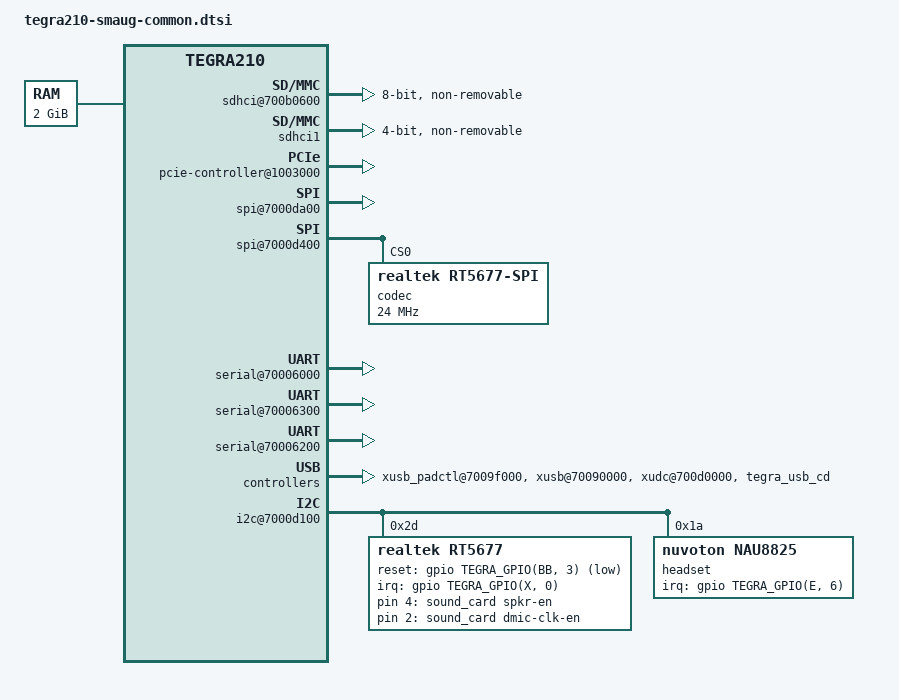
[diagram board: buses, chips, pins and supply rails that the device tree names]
/*
 * arch/arm64/boot/dts/tegra210-smaug-common.dtsi
 *
 * Copyright (c) 2014-2017, NVIDIA CORPORATION.  All rights reserved.
 *
 * This program is free software; you can redistribute it and/or modify
 * it under the terms of the GNU General Public License as published by
 * the Free Software Foundation; version 2 of the License.
 *
 * This program is distributed in the hope that it will be useful, but WITHOUT
 * ANY WARRANTY; without even the implied warranty of MERCHANTABILITY or
 * FITNESS FOR A PARTICULAR PURPOSE.  See the GNU General Public License for
 * more details.
 *
 */

/dts-v1/;

/memreserve/ 0x80000000 0x00020000;

#include <t210-common-platforms/tegra210-common.dtsi>
#include "smaug-platforms/tegra210-cpufreq.dtsi"
#include <t210-common-platforms/tegra210-e2141-max8973-dfll.dtsi>
#include <tegra210-soc/tegra210-sdhci.dtsi>
#include <tegra210-soc/tegra210-audio.dtsi>
#include "smaug-platforms/tegra210-abca-prods.dtsi"
#include "smaug-platforms/tegra210-thermal-Tboard-Tdiode.dtsi"
#include <dt-bindings/clock/tegra210-car.h>
#include <dt-bindings/reset/tegra210-car.h>
#include <dt-bindings/soc/tegra-pmc.h>
#include <dt-bindings/thermal/tegra124-soctherm.h>
#include <dt-bindings/thermal/tegra210-trips.h>
#include "smaug-platforms/tegra210-smaug-comms.dtsi"

/ {

	nvidia,dtsfilename = __FILE__;

	dvfs {
		compatible = "nvidia,tegra210-dvfs";
	};

	rtc {
		nvidia,pmc-wakeup = <&tegra_pmc PMC_WAKE_TYPE_EVENT 16
			PMC_TRIGGER_TYPE_HIGH>;
	};

	tegra_fiq_debugger {
		status = "disabled";
	};

	pmc@7000e400 {
		status = "okay";
		/delete-property/ nvidia,secure-pmc;
		nvidia,invert-interrupt;
		nvidia,suspend-mode = <0>;
		nvidia,cpu-pwr-good-time = <0>;
		nvidia,cpu-pwr-off-time = <0>;
		nvidia,core-pwr-good-time = <12000 6000>;
		nvidia,core-pwr-off-time = <39053>;
		nvidia,core-pwr-req-active-high;
		nvidia,sys-clock-req-active-high;
		#nvidia,wake-cells = <3>;

/*		bootrom-commands {
			command-block-0 {
				nvidia,i2c-controller-id = <4>;
				nvidia,pinmux-id = <0>;
				nvidia,bus-addr = <0x3c>;
				* Set PPVAR_SOC to 1.0V *
				nvidia,reg-addr = <0x16>, <0x1b>;
				nvidia,reg-data = <0x20>, <0x20>;
			};
			command-block-1 {
				nvidia,i2c-controller-id = <4>;
				nvidia,pinmux-id = <0>;
				nvidia,bus-addr = <0x68>;
				* Set RTCSECA2 to 0x1 to indicate a warm boot *
				nvidia,reg-addr = <0x15>, <0x04>;
				nvidia,reg-data = <0x01>, <0x0b>;
			};
		};*/

		iopad-defaults {
			audio-hv-pads {
				pins = "audio-hv";
				nvidia,power-source-voltage = <TEGRA_IO_PAD_VOLTAGE_1800000UV>;
			};

			spi-hv-pads {
				pins = "spi-hv";
				nvidia,power-source-voltage = <TEGRA_IO_PAD_VOLTAGE_1800000UV>;
			};

			gpio-pads {
				pins = "gpio";
				nvidia,power-source-voltage = <TEGRA_IO_PAD_VOLTAGE_1800000UV>;
			};

			sdmmc1-pads {
				pins = "sdmmc1";
				nvidia,enable-voltage-switching;
			};

			sdmmc3-pads {
				pins = "sdmmc3";
			//	nvidia,power-source-voltage = <TEGRA_IO_PAD_VOLTAGE_1800000UV>;
				nvidia,enable-voltage-switching;
			//	low-power-enable;
			};
		};
	};

	memory@80000000 {
		device_type = "memory";
		reg = < 0x0 0x80000000 0x0 0x80000000 >;
	};

	sdhci@700b0600 { /* SDMMC4 for EMMC */
		uhs-mask = <0x0>;
	//	max-clk-limit = <200000000>;
		/delete-property/ mmc-hs400-enhanced-strobe;
		/delete-property/ mmc-hs400-1_8v;
		built-in;
		only-1-8-v;
		status = "okay";
		bus-width = <8>;
		non-removable;
		no-sdio;
		no-sd;
		status = "okay";
	};

	sdhci@700b0400 { /* SDMMC3 Not Used */
		status = "disabled";
	};

	sdhci1: sdhci@700b0200 { /* SDMMC2 for WiFi */
	//	no-1-8-v;
		non-removable;
		keep-power-in-suspend;
		bus-width = <4>;
		only-1-8-v;
		force-non-removable-rescan;
		uhs-mask = <0x8>;
		/delete-property/ mmc-hs400-enhanced-strobe;
		/delete-property/ mmc-hs400-1_8v;
		status = "okay";
	};

	sdhci@700b0000 { /* SDMMC1 Not Used */
		status = "disabled";
		/delete-property/ cd-gpios;
	};

	aconnect@702c0000 {
		status = "okay";

		adma@702e2000  {
			dma-channels = <10>;
			status = "okay";
		};

		ahub {
			i2s@702d1000 {
				pinctrl-names = "dap_active", "dap_inactive";
				pinctrl-0 = <>;
				pinctrl-1 = <>;
				regulator-supplies = "vdd-1v8-audio-hv", "vdd-1v8-audio-hv-bias";
				vdd-1v8-audio-hv-supply = <&max77620_sd3>;
				vdd-1v8-audio-hv-bias-supply = <&max77620_sd3>;
				fsync-width = <0>;
			};
	
			i2s@702d1100 {
				pinctrl-names = "dap_active", "dap_inactive";
				pinctrl-0 = <>;
				pinctrl-1 = <>;
				regulator-supplies = "vdd-1v8-spi-hv", "vdd-1v8-spi-hv-bias";
				vdd-1v8-spi-hv-supply = <&max77620_sd3>;
				vdd-1v8-spi-hv-bias-supply = <&max77620_sd3>;
				fsync-width = <0>;
			};

			i2s@702d1200 {
				pinctrl-names = "dap_active", "dap_inactive";
				pinctrl-0 = <>;
				pinctrl-1 = <>;
				regulator-supplies = "vdd-1v8-spi-hv", "vdd-1v8-spi-hv-bias";
				vdd-1v8-spi-hv-supply = <&max77620_sd3>;
				vdd-1v8-spi-hv-bias-supply = <&max77620_sd3>;
				fsync-width = <0>;
			};

			i2s@702d1300 {
				fsync-width = <0>;
			};
			i2s@702d1400 {
				fsync-width = <0>;
			};
		};

		adsp_audio {
			status = "okay";
			compr-ops = <1>;
			num-plugin = <5>;
			plugin-info-1 {
				plugin-name = "mp3-dec1";
				firmware-name = "nvmp3dec.elf";
				widget-name = "MP3-DEC1";
			};
			plugin-info-2 {
				plugin-name = "spkprot";
				firmware-name = "nvspkprot.elf";
				widget-name = "SPKPROT-SW";
			};
			plugin-info-3 {
				plugin-name = "src";
				firmware-name = "nvsrc.elf";
				widget-name = "SRC";
			};
			plugin-info-4 {
				plugin-name = "aac-dec1";
				firmware-name = "nvaacdec.elf";
				widget-name = "AAC-DEC1";
			};
			plugin-info-5 {
				plugin-name = "aec";
				firmware-name = "libnvaecfx.elf";
				widget-name = "AEC";
				param-type = <2>; /* SNDRV_CTL_ELEM_TYPE_INTEGER */
			};
		};

	};

	pcie-controller@1003000 {
		nvidia,wake-gpio = <&gpio TEGRA_GPIO(A, 2) 0>;
		status = "okay";

		pci@1,0 {
			phys =  <&{/xusb_padctl@7009f000/pads/pcie/lanes/pcie-1}>,
					<&{/xusb_padctl@7009f000/pads/pcie/lanes/pcie-2}>,
					<&{/xusb_padctl@7009f000/pads/pcie/lanes/pcie-3}>,
					<&{/xusb_padctl@7009f000/pads/pcie/lanes/pcie-4}>;
			phy-names = "pcie-0", "pcie-1", "pcie-2", "pcie-3";
			status = "okay";
		};

		pci@2,0 {
			phys = <&{/xusb_padctl@7009f000/pads/pcie/lanes/pcie-0}>;
			phy-names = "pcie-0";
			status = "okay";
		};
	};

	spi@7000da00 {
		status = "okay";
	/*	spi@0 {
			compatible = "spidev";
			status = "okay";
			reg = <0>;
			spi-cpol;
			spi-cpha;
			spi-max-frequency = <10000000>;
		};*/
	};

	spi@7000d400 {
		status = "okay";
		codec@0 {
			status = "okay";
			compatible = "realtek,rt5677-spi";
			reg = <0>;
			spi-max-frequency = <24000000>;
		};
	};

	serial@70006040 {
		compatible = "nvidia,tegra20-uart";
		status = "disabled";
	};

	serial@70006000 {
		compatible = "nvidia,tegra210-uart", "nvidia,tegra114-hsuart", "nvidia,tegra20-uart";
	//	/delete-property/ console-port;
		status = "okay";
	};

	serial@70006300 {
		compatible = "nvidia,tegra210-uart", "nvidia,tegra114-hsuart", "nvidia,tegra20-uart";
	//	dma-names = "tx";
		status = "okay";
	/*	bluetooth {
			compatible = "brcm,bcm43438-bt";
			shutdown-gpios = <&gpio TEGRA_GPIO(H, 4) GPIO_ACTIVE_HIGH>;
			// level correct?
			device-wakeup-gpios = <&gpio TEGRA_GPIO(H, 3) GPIO_ACTIVE_LOW>;
			max-speed = <3000000>;
		};*/
	};

	serial@70006200 {
		status = "okay";
	};

	mailbox@70098000 {
		status = "okay";
	};

	extcon {
		extcon@0 {
			status = "disabled";
		};
	};

	xusb_padctl@7009f000 {
		status = "okay";

		pads {
			usb2 {
				status = "okay";

				lanes {
					usb2-0 {
						status = "okay";
						nvidia,function = "xusb";
						nvidia,hs_curr_level_offset = <(-4)>;
					};
				};
			};

			pcie {
				status = "okay";

				lanes {
					pcie-0 {
						status = "okay";
						nvidia,function = "pcie-x1";
					};
					pcie-1 {
						status = "okay";
						nvidia,function = "pcie-x4";
					};
					pcie-2 {
						status = "okay";
						nvidia,function = "pcie-x4";
					};
					pcie-3 {
						status = "okay";
						nvidia,function = "pcie-x4";
					};
					pcie-4 {
						status = "okay";
						nvidia,function = "pcie-x4";
					};
					pcie-5 {
						status = "okay";
						nvidia,function = "xusb";
					};
					pcie-6 {
						status = "okay";
						nvidia,function = "xusb";
					};
				};
			};
		};

		ports {
			usb2-0 {
				status = "okay";
				mode = "otg";
				nvidia,usb3-port-fake = <3>;
			};
			usb3-0 {
				status = "okay";
				nvidia,usb2-companion = <0>;
			};
		};
	};

	xusb@70090000 {
		phys = <&{/xusb_padctl@7009f000/pads/usb2/lanes/usb2-0}>,
				<&{/xusb_padctl@7009f000/pads/pcie/lanes/pcie-6}>;
		phy-names = "usb2-0", "usb3-0";
		#extcon-cells = <0>;
		extcon-cables = <&usbc_extcon>;
		extcon-cable-names = "id";
		nvidia,pmc-wakeup =
			<&tegra_pmc
				PMC_WAKE_TYPE_EVENT 39 PMC_TRIGGER_TYPE_HIGH>,
			<&tegra_pmc
				PMC_WAKE_TYPE_EVENT 44 PMC_TRIGGER_TYPE_HIGH>;
		status = "okay";
	};

	xudc@700d0000 {
		phys =  <&{/xusb_padctl@7009f000/pads/usb2/lanes/usb2-0}>,
				<&{/xusb_padctl@7009f000/pads/pcie/lanes/pcie-6}>;
		phy-names = "usb2", "usb3";
		charger-detector = <&tegra_usb_cd>;
		extcon-cables = <&usbc_extcon>;
		extcon-cable-names = "vbus";
		#extcon-cells = <0>;
		status = "okay";
	};

	tegra_usb_cd: usb_cd {
		reg = <0x0 0x7009f000 0x0 0x1000>;
		phys = <&{/xusb_padctl@7009f000/pads/usb2/lanes/usb2-0}>;
		phy-names = "otg-phy";
		status = "okay";
	};

	psy_extcon_xudc {
		status = "disabled";
		/delete-property/ dt-override-status-odm-data;
	};

	xotg {
		#extcon-cells = <0>;
		status = "disabled";
	};

	gpu-dvfs-rework {
		status = "okay";
	};

	ptm {
	//	status = "disabled";
	};

	i2c@7000d100 {
		rt5677: rt5677.5-002d@2d {
			compatible = "realtek,rt5677";
			reg = <0x2d>;

			interrupts-extended = <&gpio TEGRA_GPIO(X, 0) IRQ_TYPE_LEVEL_HIGH>;
			realtek,reset-gpio = <&gpio TEGRA_GPIO(BB, 3) GPIO_ACTIVE_LOW>;
			nvidia,pmc-wakeup = <&tegra_pmc PMC_WAKE_TYPE_EVENT 61
					     PMC_TRIGGER_TYPE_HIGH>;

			// Workaround for hissing problem b/24679173
			realtek,i2s1-pulldown;

			gpio-controller;
			#gpio-cells = <2>;
			status = "okay";
		};

		headset: nau8825.5-001a@1a {
			status = "okay";
			compatible = "nuvoton,nau8825";
			reg = <0x1a>;
			interrupt-parent = <&gpio>;
			interrupts = <TEGRA_GPIO(E, 6) IRQ_TYPE_LEVEL_LOW>;
	
			nuvoton,jkdet-enable;
			nuvoton,jkdet-polarity = <GPIO_ACTIVE_LOW>;
	
			nuvoton,vref-impedance = <2>;
			nuvoton,micbias-voltage = <6>;
			// Setup 4 buttons impedane according to Android specification
			nuvoton,sar-threshold-num = <4>;
			nuvoton,sar-threshold = <0xc 0x1e 0x38 0x60>;
			nuvoton,sar-hysteresis = <1>;
			nuvoton,sar-voltage = <0>;
			nuvoton,sar-compare-time = <0>;
			nuvoton,sar-sampling-time = <0>;
			nuvoton,short-key-debounce = <2>;
			nuvoton,jack-insert-debounce = <7>;
			nuvoton,jack-eject-debounce = <7>;

			clock-names = "mclk";
			clocks = <&tegra_car TEGRA210_CLK_CLK_OUT_2>;
		};

	};

	speaker: max98357a {
		compatible = "maxim,max98357a";
		status = "okay";
	};

	sound_card: sound {
		status = "okay";
		compatible = "nvidia,tegra-audio-t210ref-mobile-rt5677";
		nvidia,model = "tegra-snd-t210ref-mobile-rt5677";

		nvidia,spkr-en-gpios = <&rt5677 4 GPIO_ACTIVE_HIGH>;
		nvidia,dmic-clk-en-gpios = <&rt5677 2 GPIO_ACTIVE_HIGH>;

		clocks = <&tegra_car TEGRA210_CLK_PLL_P_OUT1>,
			<&tegra_car TEGRA210_CLK_PLL_A>,
			<&tegra_car TEGRA210_CLK_PLL_A_OUT0>,
			<&tegra_car TEGRA210_CLK_D_AUDIO>,
			<&tegra_car TEGRA210_CLK_CLK_M>,
			<&tegra_car TEGRA210_CLK_EXTERN1>;
		clock-names = "pll_p_out1", "pll_a", "pll_a_out0", "ahub",
			"clk_m", "extern1";


		assigned-clocks = <&tegra_car TEGRA210_CLK_PLL_A>,
			<&tegra_car TEGRA210_CLK_PLL_A_OUT0>,
			<&tegra_car TEGRA210_CLK_D_AUDIO>,
			<&tegra_car TEGRA210_CLK_EXTERN1>;
		assigned-clock-rates = <368640000>, <36864000>,
			<36864000>, <12288000>;

		nvidia,num-codec-link = <3>;

		nvidia,audio-routing =
			"x Headphone Jack", "y HPOL",
			"x Headphone Jack", "y HPOR",
			"x Mic Jack", "y MICBIAS",
			"x Mic Jack", "y MIC",
			"x DMIC L1", "x Int Mic",
			"x DMIC R1", "x Int Mic",
			"x DMIC L2", "x Int Mic",
			"x DMIC R2", "x Int Mic",
			"x Int Spk", "z Speaker";

		nvidia,xbar = <&tegra_axbar>;

		nvidia,dai-link-1 {
			link-name = "rt5677-playback";
			cpu-dai = <&tegra_i2s1>;
			codec-dai = <&rt5677>;
			cpu-dai-name = "I2S1";
			codec-dai-name = "rt5677-aif1";
			tx-mask = <0xFF>;
			rx-mask = <0xFF>;
			format = "dsp_a";
		//	bitclock-slave;
		//	frame-slave;
		//	bitclock-noninversion;
		//	frame-inversion;
			bit-format = "s16_le";
			bclk_ratio = <0>;
			srate = <48000>;
			num-channel = <4>;
			name-prefix = "x";
		};


		nvidia,dai-link-2 {
			link-name = "nau8825";
			cpu-dai = <&tegra_i2s2>;
			codec-dai = <&headset>;
			cpu-dai-name = "I2S2";
			codec-dai-name = "nau8825-hifi";
			format = "i2s";
			bit-format = "s16_le";
			srate = <48000>;
			num-channel = <2>;
			ignore_suspend;
			name-prefix = "y";
		};

		nvidia,dai-link-3 {
			link-name = "max98357a";
			cpu-dai = <&tegra_i2s3>;
			codec-dai = <&speaker>;
			cpu-dai-name = "I2S3";
			codec-dai-name = "HiFi";
			format = "i2s";
			bit-format = "s16_le";
			srate = <48000>;
			num-channel = <2>;
			name-prefix = "z";
		};
	};

	bcmdhd_wlan {
		edp-consumer-name = "primary-wifi";
	};

	modem {
		status = "disabled";
		/* using XHCI UTMI */
		nvidia,phy-type = <2>;
	};

	wifi-antenna-tuning {
		status = "disabled";
	};

	soctherm@0x700E2000 {
		throttle@oc1 {
			device_type = "throttlectl";
			oc-alarm-id = <1>;
			priority = <50>;
			mode = "brief";
			intr;
			active_low;
			count_threshold = <100>;
			filter = <5100000>;
			throttle_dev = <&{/soctherm@0x700E2000/throttle_dev@cpu_medium}
					&{/soctherm@0x700E2000/throttle_dev@gpu_medium}>;
		};
		throttle@oc3 {
			device_type = "throttlectl";
			oc-alarm-id = <3>;
			priority = <50>;
			mode = "brief";
			intr;
			active_low;
			count_threshold = <15>;
			filter = <5100000>;
			throttle_dev = <&{/soctherm@0x700E2000/throttle_dev@cpu_medium}
					&{/soctherm@0x700E2000/throttle_dev@gpu_medium}>;
		};
		throttle_dev@cpu_medium {
			dividend = <63>;
			divisor = <255>;
			duration = <0>;
			step = <0>;
		};
		throttle_dev@gpu_medium {
			level = "medium_throttling";
		};
	};

	thermal-zones {
		CPU-therm {
			status = "okay";
			thermal-zone-params {
				governor-name = "pid_thermal_gov";
				max_err_temp = <9000>;
				max_err_gain = <1000>;
				gain_p = <1000>;
				gain_d = <0>;
				up_compensation = <20>;
				down_compensation = <20>;
			};
			trips {
				cpu_critical {
					temperature = <102500>;
					hysteresis = <0>;
					type = "critical";
					writable;
				};
				cpu_heavy {
					temperature = <98500>;
					hysteresis = <0>;
					type = "hot";
					writable;
				};
				cpu_throttle {
					temperature = <89000>;
					hysteresis = <0>;
					type = "passive";
					writable;
				};
				core_dvfs_floor_trip0: core_dvfs_floor_trip0 {
					temperature = <15000>;
					hysteresis = <1000>;
					type = "active";
				};

				core_dvfs_cap_trip0: core_dvfs_cap_trip0 {
					temperature = <86000>;
					hysteresis = <1000>;
					type = "active";
				};

			};
			cooling-maps {
				map0 {
					trip = <&{/thermal-zones/CPU-therm/trips/cpu_critical}>;
					cdev-type = "tegra-shutdown";
					cooling-device = <&{/soctherm@0x700E2000/throttle@critical}
						THERMAL_NO_LIMIT THERMAL_NO_LIMIT>;
				};
				map1 {
					trip = <&{/thermal-zones/CPU-therm/trips/cpu_heavy}>;
					cdev-type = "tegra-heavy";
					cooling-device = <&throttle_heavy 1 1>;
				};
				map2 {
					trip = <&{/thermal-zones/CPU-therm/trips/cpu_throttle}>;
					cdev-type = "cpu-balanced";
					cooling-device = <&{/bthrot_cdev/cpu_balanced}
						THERMAL_NO_LIMIT THERMAL_NO_LIMIT>;
				};
				core_dvfs_floor_map0 {
					trip = <&core_dvfs_floor_trip0>;
					cooling-device = <&core_dvfs_floor 1 1>;
				};
				core_dvfs_cap_map0 {
					trip = <&core_dvfs_cap_trip0>;
					cooling-device = <&core_dvfs_cap 1 1>;
				};
			};
		};
		GPU-therm {
			status = "okay";
			thermal-zone-params {
				governor-name = "pid_thermal_gov";
				max_err_temp = <9000>;
				max_err_gain = <1000>;
				gain_p = <1000>;
				gain_d = <0>;
				up_compensation = <20>;
				down_compensation = <20>;
			};
			trips {
				gpu_critical {
					temperature = <103000>;
					hysteresis = <0>;
					type = "critical";
					writable;
				};
				gpu_heavy {
					temperature = <100000>;
					hysteresis = <0>;
					type = "hot";
					writable;
				};
				gpu_throttle {
					temperature = <90500>;
					hysteresis = <0>;
					type = "passive";
					writable;
				};
			};
			cooling-maps {
				map0 {
					trip = <&{/thermal-zones/GPU-therm/trips/gpu_critical}>;
					cdev-type = "tegra-shutdown";
					cooling-device = <&{/soctherm@0x700E2000/throttle@critical}
						THERMAL_NO_LIMIT THERMAL_NO_LIMIT>;
				};
				map1 {
					trip = <&{/thermal-zones/GPU-therm/trips/gpu_heavy}>;
					cdev-type = "tegra-heavy";
					cooling-device = <&throttle_heavy 1 1>;
				};
				map2 {
					trip = <&{/thermal-zones/GPU-therm/trips/gpu_throttle}>;
					cdev-type = "gpu-balanced";
					cooling-device = <&{/bthrot_cdev/gpu_balanced}
						THERMAL_NO_LIMIT THERMAL_NO_LIMIT>;
				};
			};
		};
		LCPU-therm {
			status = "okay";
			thermal-zone-params {
				governor-name = "pid_thermal_gov";
				max_err_temp = <9000>;
				max_err_gain = <1000>;
				gain_p = <1000>;
				gain_d = <0>;
				up_compensation = <20>;
				down_compensation = <20>;
			};
			trips {
				lcpu_critical {
					temperature = <103000>; /* must be same as GPU's critical temp */
					hysteresis = <0>;
					type = "critical";
					writable;
				};
				lcpu_heavy {
					temperature = <101500>;
					hysteresis = <0>;
					type = "hot";
					writable;
				};
				lcpu_throttle {
					temperature = <92000>;
					hysteresis = <0>;
					type = "passive";
					writable;
				};
			};
			cooling-maps {
				map0 {
					trip = <&{/thermal-zones/LCPU-therm/trips/lcpu_critical}>;
					cdev-type = "tegra-shutdown";
					cooling-device = <&{/soctherm@0x700E2000/throttle@critical}
						THERMAL_NO_LIMIT THERMAL_NO_LIMIT>;
				};
				map1 {
					trip = <&{/thermal-zones/LCPU-therm/trips/lcpu_heavy}>;
					cdev-type = "tegra-heavy";
					cooling-device = <&throttle_heavy 1 1>;
				};
				map2 {
					trip = <&{/thermal-zones/LCPU-therm/trips/lcpu_throttle}>;
					cdev-type = "cpu-balanced";
					cooling-device = <&{/bthrot_cdev/cpu_balanced}
						THERMAL_NO_LIMIT THERMAL_NO_LIMIT>;
				};
			};
		};
		PLL-therm {
			status = "okay";
			thermal-zone-params {
				governor-name = "pid_thermal_gov";
				max_err_temp = <9000>;
				max_err_gain = <1000>;
				gain_p = <1000>;
				gain_d = <0>;
				up_compensation = <20>;
				down_compensation = <20>;
			};
		};
		Tboard_tegra {
			status = "okay";
		};
		Tdiode_tegra {
			status = "okay";
		};
		AO-therm {
			status = "okay";
		};
	};

	soctherm@0x700E2000 {
		throttle@oc3 {
			device_type = "throttlectl";
			oc-alarm-id = <3>;
			priority = <50>;
			mode = "brief";
			intr;
			active_low;
			count_threshold = <15>;
			filter = <5100000>;
			throttle_dev = <&{/soctherm@0x700E2000/throttle_dev@cpu_medium}
					&{/soctherm@0x700E2000/throttle_dev@gpu_medium}>;
		};
		throttle_dev@cpu_medium {
			dividend = <63>;
			divisor = <255>;
			duration = <0>;
			step = <0>;
		};
		throttle_dev@gpu_medium {
			level = "medium_throttling";
		};
	};

	watchdog@60005100 {
		status = "okay"; // set ok for android
	};

	clock@70110000 {
		status = "okay";
		nvidia,align-step-uv = <6250>;
		nvidia,sample-rate = <12500>;
		nvidia,droop-ctrl = <0x00000f00>;
		nvidia,force-mode = <1>;
		nvidia,cf = <10>;
		nvidia,ci = <0>;
		nvidia,cg = <2>;
		nvidia,i2c-fs-rate = <400000>;
		nvidia,pmic-undershoot-gb = <100>;
	};

	cpus {
		cpu@0 {
			clocks = <&tegra_car TEGRA210_CLK_CCLK_G>,
				 <&tegra_car TEGRA210_CLK_CCLK_LP>,
				 <&tegra_car TEGRA210_CLK_PLL_X>,
				 <&tegra_car TEGRA210_CLK_PLL_P_OUT4>,
				 <&tegra_clk_dfll>;
			clock-names = "cpu_g", "cpu_lp", "pll_x", "pll_p", "dfll";
			clock-latency = <300000>;
		};
	};

	memory-controller@70019000 {
		status = "okay";
	};

	thermal-zones {

 		cpu_max77621_reg {
			polling-delay-passive = <0>; /* milliseconds */
			polling-delay = <0>; /* milliseconds */

 			thermal-sensors = <&cpu_max77621_reg>;
		};

 		gpu_max77621_reg {
			polling-delay-passive = <0>; /* milliseconds */
			polling-delay = <0>; /* milliseconds */

 			thermal-sensors = <&gpu_max77621_reg>;
		};
	};

	spi@7000da00 {
		/delete-node/ spi-touch19x12@0;
		/delete-node/ spi-touch25x16@0;
		/delete-node/ spi-touch14x8@0;
	};
};
